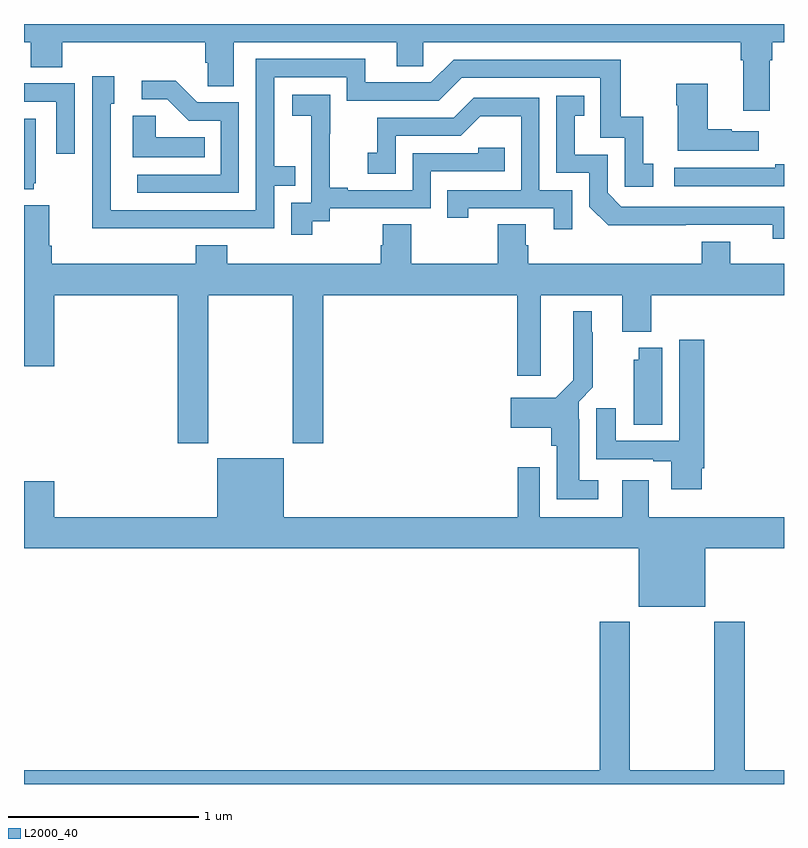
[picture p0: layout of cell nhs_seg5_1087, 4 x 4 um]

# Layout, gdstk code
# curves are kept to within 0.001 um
import gdstk
lib = gdstk.Library(unit=1e-6, precision=1e-09)
def P(c, l, *ps):  # polygons
    for p in ps: c.add(gdstk.Polygon(p, *l))
L2000_40 = (2000, 40)

nhs_seg5_1087 = lib.new_cell('nhs_seg5_1087')
P(nhs_seg5_1087, L2000_40, [(180.925,912.608),(180.938,912.608),(180.938,912.704),(181,912.704),(181,912.799),(177,912.799),(177,912.704),(177.035,912.704),(177.035,912.571),(177.2,912.571),(177.2,912.704),(177.953,912.704),(177.953,912.595),(177.966,912.595),(177.966,912.472),(178.105,912.472),(178.105,912.704),(178.961,912.704),(178.961,912.577),(179.1,912.577),(179.1,912.704),(180.773,912.704),(180.773,912.608),(180.785,912.608),(180.785,912.342),(180.925,912.342)],
  [(177.821,911.724),(178.317,911.724),(178.317,911.949),(178.427,911.949),(178.427,912.05),(178.317,912.05),(178.317,912.519),(178.698,912.519),(178.698,912.396),(179.184,912.396),(179.304,912.516),(180.033,912.516),(180.033,912.201),(180.162,912.201),(180.162,911.943),(180.313,911.943),(180.313,912.063),(180.26,912.063),(180.26,912.31),(180.142,912.31),(180.142,912.612),(179.262,912.612),(179.142,912.492),(178.795,912.492),(178.795,912.615),(178.221,912.615),(178.221,911.82),(177.456,911.82),(177.456,912.378),(177.475,912.378),(177.475,912.523),(177.36,912.523),(177.36,912.029),(177.358,912.029),(177.358,911.723)],
  [(178.131,912.387),(177.912,912.387),(177.799,912.5),(177.621,912.5),(177.621,912.402),(177.755,912.402),(177.866,912.291),(178.035,912.291),(178.035,912.006),(177.597,912.006),(177.597,911.91),(178.131,911.91)],
  [(177.267,912.486),(177,912.486),(177,912.39),(177.171,912.39),(177.171,912.117),(177.267,912.117)],
  [(180.868,912.235),(180.725,912.235),(180.725,912.245),(180.598,912.245),(180.598,912.484),(180.433,912.484),(180.433,912.371),(180.44,912.371),(180.44,912.131),(180.868,912.131)],
  [(178.516,911.761),(178.608,911.761),(178.608,911.829),(179.142,911.829),(179.142,912.024),(179.531,912.024),(179.531,912.147),(179.391,912.147),(179.391,912.12),(179.046,912.12),(179.046,911.925),(178.705,911.925),(178.705,911.938),(178.61,911.938),(178.61,912.221),(178.611,912.221),(178.611,912.427),(178.413,912.427),(178.413,912.317),(178.511,912.317),(178.511,912.089),(178.512,912.089),(178.512,911.859),(178.407,911.859),(178.407,911.691),(178.516,911.691)],
  [(181,911.838),(180.144,911.838),(180.072,911.91),(180.072,912.111),(179.899,912.111),(179.899,912.315),(179.948,912.315),(179.948,912.421),(179.802,912.421),(179.802,912.015),(179.976,912.015),(179.976,911.838),(180.074,911.741),(180.942,911.742),(180.942,911.669),(181,911.669)],
  [(179.886,911.925),(179.712,911.925),(179.712,912.411),(179.366,912.411),(179.261,912.306),(178.858,912.306),(178.858,912.121),(178.809,912.121),(178.809,912.012),(178.956,912.012),(178.956,912.21),(179.298,912.21),(179.402,912.314),(179.616,912.314),(179.616,911.925),(179.227,911.925),(179.227,911.778),(179.338,911.778),(179.338,911.829),(179.789,911.829),(179.789,911.718),(179.886,911.718)],
  [(177.95,912.202),(177.693,912.202),(177.693,912.317),(177.572,912.317),(177.572,912.098),(177.95,912.098)],
  [(177.05,911.961),(177.061,911.961),(177.061,912.301),(177,912.301),(177,911.93),(177.05,911.93)],
  [(181,912.062),(180.955,912.062),(180.955,912.042),(180.423,912.042),(180.423,911.946),(181,911.946)],
  [(180.566,911.653),(180.566,911.536),(179.654,911.536),(179.654,911.634),(179.641,911.634),(179.641,911.744),(179.494,911.744),(179.494,911.536),(179.037,911.536),(179.037,911.744),(178.889,911.744),(178.889,911.634),(178.877,911.634),(178.877,911.536),(178.07,911.536),(178.07,911.635),(177.905,911.635),(177.905,911.536),(177.146,911.536),(177.146,911.632),(177.133,911.632),(177.133,911.845),(177,911.845),(177,910.998),(177.16,910.998),(177.16,911.372),(177.809,911.372),(177.809,910.593),(177.969,910.593),(177.969,911.372),(178.414,911.372),(178.414,910.593),(178.574,910.593),(178.574,911.372),(179.597,911.372),(179.597,910.947),(179.719,910.947),(179.719,911.372),(180.149,911.372),(180.149,911.18),(180.302,911.18),(180.302,911.372),(181,911.372),(181,911.536),(180.718,911.536),(180.718,911.653)],
  [(180.022,910.399),(179.923,910.399),(179.923,910.718),(179.919,910.718),(179.919,910.812),(179.993,910.886),(179.993,911.177),(179.989,911.177),(179.989,911.287),(179.891,911.287),(179.892,910.924),(179.799,910.831),(179.562,910.831),(179.562,910.673),(179.774,910.673),(179.774,910.578),(179.804,910.578),(179.804,910.298),(180.022,910.298)],
  [(180.568,910.462),(180.581,910.462),(180.581,911.137),(180.449,911.137),(180.449,910.605),(180.115,910.605),(180.115,910.777),(180.011,910.777),(180.011,910.509),(180.311,910.509),(180.311,910.497),(180.407,910.497),(180.407,910.35),(180.568,910.35)],
  [(180.358,911.095),(180.236,911.095),(180.236,911.031),(180.209,911.031),(180.209,910.69),(180.358,910.69)],
  [(177,910.393),(177,910.04),(180.236,910.04),(180.236,909.731),(180.586,909.731),(180.586,910.04),(181,910.04),(181,910.204),(180.289,910.204),(180.289,910.399),(180.149,910.399),(180.149,910.204),(179.715,910.204),(179.715,910.465),(179.599,910.465),(179.599,910.204),(178.366,910.204),(178.366,910.513),(178.016,910.513),(178.016,910.204),(177.16,910.204),(177.16,910.393)],
  [(181,908.872),(180.794,908.872),(180.794,909.652),(180.634,909.652),(180.634,908.872),(180.189,908.872),(180.189,909.652),(180.029,909.652),(180.029,908.872),(177,908.872),(177,908.799),(181,908.799)])

lib.write_gds('nhs_seg5_1087.gds')
